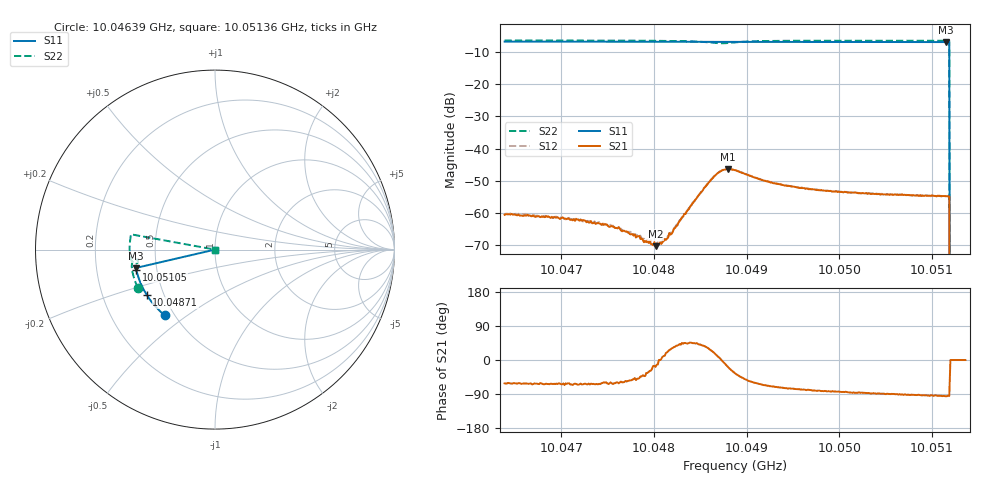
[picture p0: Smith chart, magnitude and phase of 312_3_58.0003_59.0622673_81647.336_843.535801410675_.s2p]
#  HZ  S  RI  R  50.00
! Rohde & Schwarz Vector Network Analyzer
! Rohde-Schwarz,ZNB20-2Port,1311601062101988,3.16
! Created: UTC 3/21/2024, 1:04:15 AM
! freq[Hz]  re:S11  im:S11  re:S21  im:S21  re:S12  im:S12  re:S22  im:S22
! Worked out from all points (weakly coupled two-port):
!   401 points, 10.04639 GHz to 10.05136 GHz, reference 50 ohm
!   highest |S21| = -46.34 dB at 10.0488 GHz (marker M1); lowest = -70.3 dB at 10.04802 GHz (marker M2)
!   lowest |S11| = -6.9 dB at 10.05115 GHz (marker M3), VSWR 2.65, Z = 19.1 - j5.01 ohm
!   |S11| at or under -10 dB: 10.05119 GHz to end of sweep
!   |S22| runs from - to -6.4 dB; largest |S21 - S12| = 0.00034
!   S11 on the Smith chart (normalised r, x): 10.04639 GHz: 0.44, -0.41; 10.04871 GHz: 0.40, -0.26; 10.05105 GHz: 0.38, -0.11; 10.05136 GHz: 1.00, +0.00
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1.0046389e10  -0.2798 -0.3667  0.000445 -0.000824  0.000533 -0.000799  -0.4303 -0.2127
1.0046837e10  -0.3022 -0.3471  0.00041 -0.000788  0.000467 -0.000767  -0.442 -0.1848
1.0047222e10  -0.3204 -0.3293  0.000327 -0.00069  0.000348 -0.000671  -0.4507 -0.1598
1.004762e10  -0.338 -0.3099  0.000287 -0.000529  0.000339 -0.00049  -0.4581 -0.1331
1.0047831e10  -0.347 -0.2991  0.000281 -0.000328  0.000289 -0.000308  -0.4612 -0.118
1.004793e10  -0.3511 -0.2941  0.00031 -0.000211  0.000311 -0.000174  -0.4623 -0.1106
1.0048017e10  -0.3546 -0.2895  0.000289 -9.54e-05  0.000316 -5.67e-05  -0.4631 -0.1038
1.0048054e10  -0.356 -0.2874  0.000321 1.67e-06  0.000344 -8.19e-06  -0.4634 -0.1009
1.0048104e10  -0.3581 -0.2849  0.00036 6.65e-05  0.000376 0.000104  -0.4636 -0.0969
1.0048179e10  -0.361 -0.2809  0.000408 0.000215  0.000423 0.000248  -0.4636 -0.0907
1.0048564e10  -0.3752 -0.26  0.00218 0.00149  0.00214 0.0016  -0.4483 -0.0564
1.0048713e10  -0.3803 -0.2518  0.00437 0.000323  0.0044 0.000582  -0.4301 -0.0613
1.00488e10  -0.3833 -0.2471  0.00456 -0.00156  0.00467 -0.00127  -0.4318 -0.0734
1.0048875e10  -0.3859 -0.243  0.00378 -0.00266  0.00399 -0.0024  -0.4412 -0.0783
1.0049285e10  -0.3991 -0.2196  0.00101 -0.00272  0.00118 -0.00273  -0.4698 -0.0487
1.0049707e10  -0.4113 -0.1944  0.000376 -0.0023  0.00056 -0.00226  -0.4749 -0.0158
1.005054e10  -0.4304 -0.1433  1.09e-05 -0.00192  0.000118 -0.00195  -0.4739 0.0421
1.0051049e10  -0.4391 -0.111  -0.000115 -0.00182  -3.41e-05 -0.00181  -0.4695 0.0762
1.0051149e10  -0.4403 -0.1046  -0.000181 -0.0018  -7.28e-05 -0.00183  -0.4682 0.0828
1.0051161e10  -0.4408 -0.1039  -0.000172 -0.00181  -2.39e-05 -0.00184  -0.468 0.0835
1.0051223e10  0 0  0 0  0 0  0 0
1.005136e10  0 0  0 0  0 0  0 0
